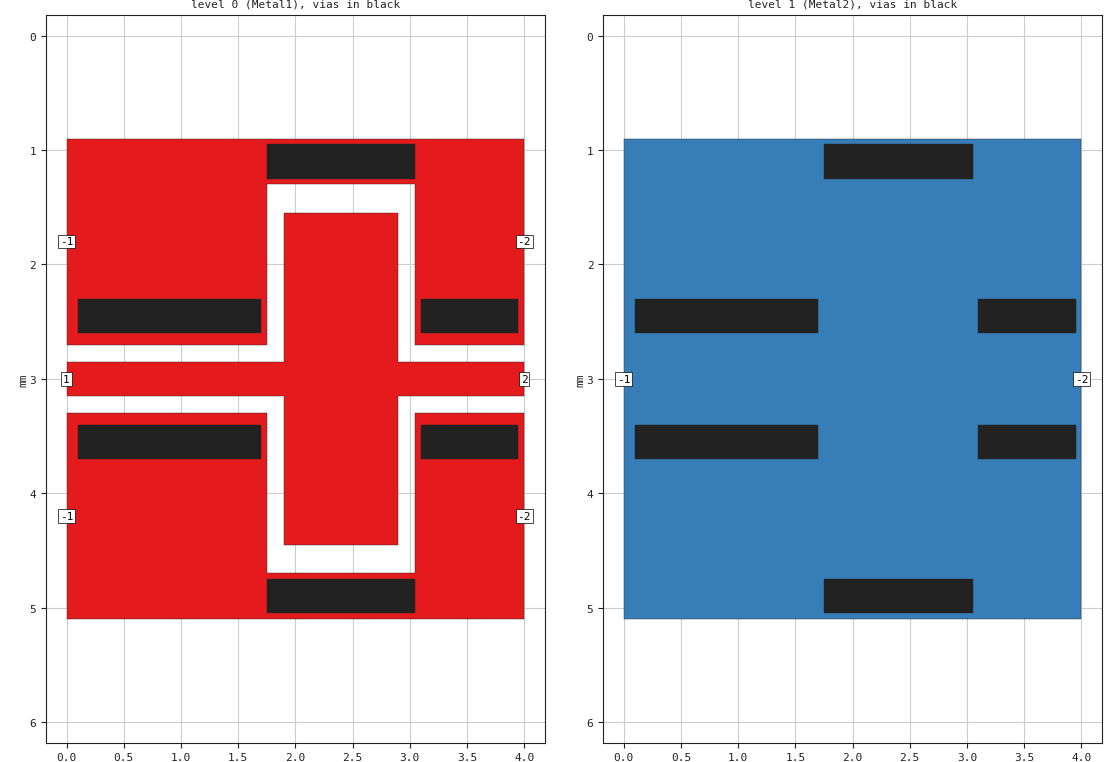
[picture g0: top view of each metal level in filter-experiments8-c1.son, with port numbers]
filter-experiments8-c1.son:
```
FTYP SONPROJ 18 ! Sonnet Project File
VER 17.56
HEADER
LIC antikernel2.1.50170 3cfdfeabd719 havequick azonenberg Level3Gold
DAT 02/27/2021 20:52:50
BUILT_BY_CREATED dxf 17.52.2 05/01/2020 05:35:06
BUILT_BY_SAVED sonnet 17.56
MDATE 02/27/2021 20:52:50
HDATE 02/27/2021 20:52:50
ANN Created by dxfgeo, Sonnet Software Inc.
END HEADER
DIM
ANG DEG
CAP PF
CON /OH
FREQ GHZ
IND NH
LNG MM
RES OH
END DIM
CONTROL
VARSWP
OPTIONS  -dj
SPEED 0
CACHE_ABS 1
Q_ACC N
END CONTROL
GEO
SYM
TMET "Free Space" 0 FREESPACE 376.7303136 0 0 0
BMET "Free Space" 0 FREESPACE 376.7303136 0 0 0
MET "Unknown_metal" 1 NOR INF 0.5 0 
MET "Copper 1oz thick" 2 TMM 58000000 0.5 0.035 2
MET "Nickel " 3 TMM 14300000 0.5 0.035 2
MET "Copper 0.5oz" 1 NOR 58000000 0.5 0.0175 
MET "Unknown_metal" 1 VOL INF 0
BRI "Alumina (96%)" 0 9.4 0.0004 0 
BRI "Alumina (99.5%)" 0 9.9 0.0001 0 
BRI "Aluminum Nitride" 0 8.6 0.0003 0 
BRI "Arlon 25FR" 0 3.58 0.0035 0 
BRI "Arlon 25N" 0 3.38 0.0025 0 
BRI "Arlon AD5" 0 5.1 0.003 0 
BRI "Arlon AD10" 0 10.2 0.005 0 
BRI "Arlon AD250" 0 2.5 0.0018 0 
BRI "Arlon AD255A" 0 2.55 0.0015 0 
BRI "Arlon AD260A" 0 2.6 0.0018 0 
BRI "Arlon AD270" 0 2.7 0.0023 0 
BRI "Arlon AD300A" 0 3 0.002 0 
BRI "Arlon AD320A" 0 3.2 0.0032 0 
BRI "Arlon AD350A" 0 3.5 0.003 0 
BRI "Arlon AD410" 0 4.1 0.003 0 
BRI "Arlon AD430" 0 4.3 0.003 0 
BRI "Arlon AD450" 0 4.5 0.0035 0 
BRI "Arlon AD600" 0 6.15 0.003 0 
BRI "Arlon AD1000" 0 10.2 0.0023 0 
BRI "Arlon AR1000" 0 9.8 0.003 0 
BRI "Arlon CLTE" 0 2.96 0.0023 0 
BRI "Arlon CLTE-AT" 0 3 0.0013 0 
BRI "Arlon CLTE-P" 0 2.94 0.0025 0 
BRI "Arlon CLTE-XT" 0 2.94 0.0012 0 
BRI "Arlon Cu 217LX" 0 2.17 0.0009 0 
BRI "Arlon Cu 233LX" 0 2.33 0.0013 0 
BRI "Arlon Cu 250GT" 0 2.5 0.001 0 
BRI "Arlon Cu 250GX" 0 2.5 0.0018 0 
BRI "Arlon Cu 6250" 0 2.32 0.0013 0 
BRI "Arlon Cu 6700" 0 2.35 0.0025 0 
BRI "Arlon Di 522" 0 2.5 0.001 0 
BRI "Arlon Di 527" 0 2.5 0.0018 0 
BRI "Arlon Di 870" 0 2.33 0.0013 0 
BRI "Arlon Di 880" 0 2.17 0.0009 0 
BRI "Arlon Iso 917" 0 2.17 0.0013 0 
BRI "Arlon Iso 933" 0 2.33 0.0016 0 
BRI "Arlon Multi HF" 0 3.7 0.004 0 
BRI "Arlon TC350" 0 3.5 0.002 0 
BRI "Arlon TC600" 0 6.15 0.002 0 
BRI "Beryllia (99.5%)" 0 6.5 0.0004 0 
BRI "CEM-1" 0 4.5 0.02 0 
BRI "CEM-3" 0 4.5 0.02 0 
BRI "Dupont 9K7" 0 7.1 0.0012 0 
BRI "Dupont 943" 0 7.4 0.002 0 
BRI "Dupont 951" 0 7.8 0.006 0 
BRI "Dupont FEP" 0 2 0.0005 0 
BRI "Dupont Vacrel" 0 3.8 0.011 0 
BRI "ESL 41010" 0 7.5 0.005 0 
BRI "ESL 41020" 0 7.25 0.005 0 
BRI "ESL 41050" 0 13.5 0.002 0 
BRI "ESL 41060" 0 16.5 0.002 0 
BRI "ESL 41110" 0 4.5 0.004 0 
BRI "Ferro A6M" 0 5.9 0.002 0 
BRI "Ferro A6S" 0 5.9 0.002 0 
BRI "Ferro L8" 0 7.3 0.0018 0 
BRI "FR-4" 0 4.4 0.02 0 
BRI "G-10" 0 4.8 0.025 0 
BRI "Gallium Arsenide" 0 12.9 0.006 0 
BRI "Gallium Nitride" 0 9.7 0 0 
BRI "Glass (Pyrex)" 0 4.82 0.0054 0 
BRI "Heraeus HL2000" 0 7.3 0.0026 0 
BRI "Isola 370HR" 0 4.04 0.021 0 
BRI "Isola FR408" 0 3.77 0.0116 0 
BRI "Isola FR408HR" 0 3.68 0.0092 0 
BRI "Isola Getek" 0 3.6 0.01 0 
BRI "Isola GI-180" 0 3.7 0.013 0 
BRI "Isola IS415" 0 3.82 0.0125 0 
BRI "Isola IS620i" 0 3.58 0.006 0 
BRI "Isola IS680-280" 0 2.8 0.0025 0 
BRI "Isola IS680-300" 0 3 0.003 0 
BRI "Isola IS680-320" 0 3.2 0.003 0 
BRI "Isola IS680-333" 0 3.33 0.003 0 
BRI "Isola IS680-338" 0 3.38 0.0032 0 
BRI "Isola IS680-345" 0 3.45 0.0036 0 
BRI "Kerafol CT800" 0 5.3 0.008 0 
BRI "Nelco MW9350" 0 3.7 0.004 0 
BRI "Nelco N4000-12" 0 3.7 0.008 0 
BRI "Nelco N4000-13" 0 3.7 0.009 0 
BRI "Nelco N4000-13SI" 0 3.2 0.007 0 
BRI "Nelco N4000-13EP" 0 3.7 0.008 0 
BRI "Nelco N4350-13RF" 0 3.5 0.0065 0 
BRI "Nelco N4380-13RF" 0 3.8 0.007 0 
BRI "Nelco N9300-13RF" 0 3 0.004 0 
BRI "Nelco N9320-13RF" 0 3.2 0.0045 0 
BRI "Nelco N9338-13RF" 0 3.38 0.0046 0 
BRI "Nelco N9350-13RF" 0 3.48 0.0055 0 
BRI "Nelco NH9294" 0 2.94 0.0022 0 
BRI "Nelco NH9300" 0 3 0.0023 0 
BRI "Nelco NH9320" 0 3.2 0.0024 0 
BRI "Nelco NH9338" 0 3.38 0.0025 0 
BRI "Nelco NH9348" 0 3.48 0.003 0 
BRI "Nelco NH9350" 0 3.5 0.003 0 
BRI "Nelco NH9410" 0 4.1 0.003 0 
BRI "Nelco NH9450" 0 4.5 0.003 0 
BRI "Nelco NX9240" 0 2.4 0.0016 0 
BRI "Nelco NX9245" 0 2.45 0.0016 0 
BRI "Nelco NX9250" 0 2.5 0.0017 0 
BRI "Nelco NX9255" 0 2.55 0.0018 0 
BRI "Nelco NX9260" 0 2.6 0.0019 0 
BRI "Nelco NY9208" 0 2.08 0.0006 0 
BRI "Nelco NY9217" 0 2.17 0.0008 0 
BRI "Nelco NY9220" 0 2.2 0.0009 0 
BRI "Nelco NY9233" 0 2.33 0.0011 0 
BRI "PET" 0 3.37 0.0208 0 
BRI "Polyimide" 0 3.5 0.003 0 
BRI "Quartz (Fused)" 0 3.78 0.0001 0 
BRI "Rogers 3001" 0 2.28 0.003 0 
BRI "Rogers RO2808" 0 7.6 0.0015 0 
BRI "Rogers RO3003" 0 3 0.0013 0 
BRI "Rogers RO3006" 0 6.5 0.002 0 
BRI "Rogers RO3010" 0 11.2 0.0022 0 
BRI "Rogers RO3035" 0 3.6 0.0018 0 
BRI "Rogers RO3203" 0 3.02 0.0016 0 
BRI "Rogers RO3206" 0 6.6 0.0027 0 
BRI "Rogers RO3210" 0 10.8 0.0027 0 
BRI "Rogers RO3730" 0 3 0.0016 0 
BRI "Rogers RO4003C" 0 3.55 0.0029 0 
BRI "Rogers RO4533" 0 3.45 0.0029 0 
BRI "Rogers RO4534" 0 3.4 0.003 0 
BRI "Rogers RO4350B" 0 3.66 0.0037 0 
BRI "Rogers RO4350BTX" 0 3.66 0.0034 0 
BRI "Rogers RO4360" 0 6.15 0.0038 0 
BRI "Rogers RO4450B-3.6" 0 3.3 0.0043 0 
BRI "Rogers RO4450B-4" 0 3.54 0.004 0 
BRI "Rogers RO4450F" 0 3.52 0.0041 0 
BRI "Rogers RO4730" 0 3 0.0033 0 
BRI "Rogers RT5870" 0 2.33 0.0012 0 
BRI "Rogers RT5880" 0 2.2 0.0009 0 
BRI "Rogers RT5880LZ" 0 1.96 0.0019 0 
BRI "Rogers RT6002" 0 2.94 0.0012 0 
BRI "Rogers RT6006" 0 6.15 0.0027 0 
BRI "Rogers RT6010LM" 0 10.9 0.0023 0 
BRI "Rogers RT6035HTC" 0 3.6 0.0013 0 
BRI "Rogers RT6202" 0 2.94 0.0015 0 
BRI "Rogers RT6202PR" 0 2.95 0.0015 0 
BRI "Rogers Syron7000" 0 3.4 0.0045 0 
BRI "Rogers Syron7100-2" 0 3.61 0.006 0 
BRI "Rogers Syron7100-4" 0 3.39 0.005 0 
BRI "Rogers Theta" 0 4.01 0.0118 0 
BRI "Rogers TMM 3" 0 3.39 0.002 0 
BRI "Rogers TMM 4" 0 4.5 0.002 0 
BRI "Rogers TMM 6" 0 6 0.0023 0 
BRI "Rogers TMM 10" 0 9.56 0.0022 0 
BRI "Rogers TMM 10i" 0 9.96 0.002 0 
BRI "Rogers UL2000" 0 2.5 0.0019 0 
BRI "Rogers UL3850" 0 3.05 0.0025 0 
BRI "Rogers UL3908" 0 2.9 0.0025 0 
BRI "Rogers XT8000" 0 3.34 0.0035 0 
BRI "Rogers XT8100-2" 0 3.54 0.0049 0 
BRI "Rogers XT8100-4" 0 3.32 0.0038 0 
BRI "Silicon (intrinsic)" 0 11.9 0.004 0.00044 
BRI "Silicon Dioxide" 0 3.9 0 0 
BRI "Silicon Nitride" 0 7.5 0 0 
BRI "Taconic CER-10" 0 10 0.0035 0 
BRI "Taconic FastFilm" 0 2.7 0.0012 0 
BRI "Taconic Fastrise-DS" 0 2.96 0.0018 0 
BRI "Taconic Fastrise27" 0 2.7 0.0014 0 
BRI "Taconic Fastrise77" 0 7.7 0.0034 0 
BRI "Taconic FEP" 0 2 0.0003 0 
BRI "Taconic RF-30" 0 3 0.0014 0 
BRI "Taconic RF-35" 0 3.5 0.0018 0 
BRI "Taconic RF-35A2" 0 3.5 0.0011 0 
BRI "Taconic RF-35P" 0 3.5 0.0025 0 
BRI "Taconic RF-41" 0 4.1 0.0038 0 
BRI "Taconic RF-43" 0 4.3 0.0033 0 
BRI "Taconic RF-45" 0 4.5 0.0037 0 
BRI "Taconic RF-60A" 0 6.15 0.0038 0 
BRI "Taconic RF-301" 0 2.97 0.0012 0 
BRI "Taconic TacBond HT" 0 2.35 0.0025 0 
BRI "Taconic TLA-6" 0 2.62 0.0012 0 
BRI "Taconic TLC-27" 0 2.75 0.003 0 
BRI "Taconic TLC-30" 0 3 0.003 0 
BRI "Taconic TLC-32" 0 3.2 0.003 0 
BRI "Taconic TLE-95" 0 2.95 0.0028 0 
BRI "Taconic TLF-34" 0 3.4 0.002 0 
BRI "Taconic TLF-35" 0 3.5 0.002 0 
BRI "Taconic TLP-3" 0 2.33 0.0009 0 
BRI "Taconic TLP-5" 0 2.2 0.0009 0 
BRI "Taconic TLP-5A" 0 2.17 0.0009 0 
BRI "Taconic TLT-0" 0 2.45 0.0006 0 
BRI "Taconic TLT-9" 0 2.5 0.0006 0 
BRI "Taconic TLT-8" 0 2.55 0.0006 0 
BRI "Taconic TLT-7" 0 2.6 0.0006 0 
BRI "Taconic TLT-6" 0 2.65 0.0006 0 
BRI "Taconic TLX-0" 0 2.45 0.0019 0 
BRI "Taconic TLX-9" 0 2.5 0.0019 0 
BRI "Taconic TLX-8" 0 2.55 0.0019 0 
BRI "Taconic TLX-7" 0 2.6 0.0019 0 
BRI "Taconic TLX-6" 0 2.65 0.0019 0 
BRI "Taconic TLY-3" 0 2.33 0.0009 0 
BRI "Taconic TLY-3F" 0 2.33 0.0009 0 
BRI "Taconic TLY-5" 0 2.2 0.0009 0 
BRI "Taconic TLY-5-L" 0 2.2 0.0009 0 
BRI "Taconic TLY-5A" 0 2.17 0.0009 0 
BRI "Taconic TLY-5A-L" 0 2.17 0.0009 0 
BRI "Taconic TPG-30" 0 3 0.0038 0 
BRI "Taconic TPG-32" 0 3.2 0.005 0 
BRI "Taconic TPG-35" 0 3.5 0.005 0 
BRI "Taconic TRF-41" 0 4.1 0.0035 0 
BRI "Taconic TRF-43" 0 4.3 0.0035 0 
BRI "Taconic TRF-45" 0 4.5 0.0035 0 
BRI "Taconic TSM-DS" 0 2.85 0.001 0 
BRI "Taconic TSM-DS3" 0 3 0.0011 0 
BRI "Taconic TSM-26" 0 2.6 0.0014 0 
BRI "Taconic TSM-29" 0 2.94 0.0013 0 
BRI "Taconic TSM-30" 0 3 0.0013 0 
BRI "Teflon (PTFE)" 0 2.08 0.0004 0 
BOX 2 4 6 160 240 20 0
      1 1 1 0 0 0 0 "Air"
      0.16 3.6 1 0.0092 0 0 0 "Isola FR408HR"
      1 1 1 0 0 0 0 "Air"
TECHLAY METAL Metal1 BLACK -2 0 
0 0 1 N 3517 1 1 100 100 0 0 0 Y
END
END
TECHLAY VIA Via1 <UNSPECIFIED> -4 0 
VIA POLYGON
1 0 -1 N 3526 1 1 100 100 0 0 0 Y
TOLEVEL 0 RING NOCOVERS
END
END
TECHLAY METAL Metal2 <UNSPECIFIED> -3 0 
1 0 3 N 3528 1 1 100 100 0 0 0 Y
END
END
DIM STD YDIR -1
POS -0.07178879085 -0.8861163852
NOM 1.3
REF1 POLY 3296 1
6
REF2 POLY 3296 1
5
END
DIM STD YDIR -1
POS -0.0982766238 -1.150372809
NOM 1.3
REF1 POLY 3296 1
10
REF2 POLY 3296 1
9
END
DIM STD XDIR 1
POS 3.638810976 -0.07368392596
NOM 1
REF1 POLY 3296 1
5
REF2 POLY 3296 1
4
END
LORGN 0 6 U 
POR1 BOX
POLY 3256 1
1
-1 50 0 0 0 0 1.8 
POR1 BOX
POLY 3256 1
7
-2 50 0 0 0 4 1.8 
POR1 BOX
POLY 3257 1
5
-1 50 0 0 0 0 4.2 
POR1 BOX
POLY 3257 1
7
-2 50 0 0 0 4 4.2 
POR1 BOX
POLY 3296 1
1
2 50 0 0 0 4 3 
POR1 BOX
POLY 3296 1
7
1 50 0 0 0 0 3 
POR1 BOX
POLY 3277 1
1
-1 50 0 0 0 0 3 
POR1 BOX
POLY 3277 1
3
-2 50 0 0 0 4 3 
NUM 10
0 9 1 N 3256 1 1 100 100 0 0 0 Y
TLAYNAM Metal1 INH
4 0.9
0 0.9
0 2.7
1.75 2.7
1.75 1.3
3.05 1.3
3.05 2.7
4 2.7
4 0.9
END
0 9 1 N 3257 1 1 100 100 0 0 0 Y
TLAYNAM Metal1 INH
4 3.3
3.05 3.3
3.05 4.7
1.75 4.7
1.75 3.3
0 3.3
0 5.1
4 5.1
4 3.3
END
0 13 1 N 3296 1 1 100 100 0 0 0 Y
TLAYNAM Metal1 INH
2.9 3.15
4 3.15
4 2.85
2.9 2.85
2.9 1.55
1.9 1.55
1.9 2.85
0 2.85
0 3.15
1.9 3.15
1.9 4.45
2.9 4.45
2.9 3.15
END
VIA POLYGON
0 5 -1 N 3193 1 1 100 100 0 0 0 Y
TOLEVEL 1 RING NOCOVERS
1.7 2.3
0.1 2.3
0.1 2.6
1.7 2.6
1.7 2.3
END
VIA POLYGON
0 5 -1 N 3195 1 1 100 100 0 0 0 Y
TOLEVEL 1 RING NOCOVERS
1.7 3.4
0.1 3.4
0.1 3.7
1.7 3.7
1.7 3.4
END
VIA POLYGON
0 5 -1 N 3249 1 1 100 100 0 0 0 Y
TOLEVEL 1 RING NOCOVERS
3.95 3.4
3.1 3.4
3.1 3.7
3.95 3.7
3.95 3.4
END
VIA POLYGON
0 5 -1 N 3250 1 1 100 100 0 0 0 Y
TOLEVEL 1 RING NOCOVERS
3.05 4.75
1.75 4.75
1.75 5.05
3.05 5.05
3.05 4.75
END
VIA POLYGON
0 5 -1 N 3251 1 1 100 100 0 0 0 Y
TOLEVEL 1 RING NOCOVERS
3.95 2.3
3.1 2.3
3.1 2.6
3.95 2.6
3.95 2.3
END
VIA POLYGON
0 5 -1 N 3252 1 1 100 100 0 0 0 Y
TOLEVEL 1 RING NOCOVERS
3.05 0.95
1.75 0.95
1.75 1.25
3.05 1.25
3.05 0.95
END
1 5 3 N 3277 1 1 100 100 0 0 0 Y
TLAYNAM Metal2 INH
4 0.9
0 0.9
0 5.1
4 5.1
4 0.9
END
END GEO
OPT
MAX 100
END OPT
VARSWP
ENABLED Y
FREQ Y AY ABS_ENTRY 0.1 10.0 -1 300 
END
END VARSWP
3DOPTIONS
GLOBAL 1
ALL 3 1
END 3DOPTIONS
```
